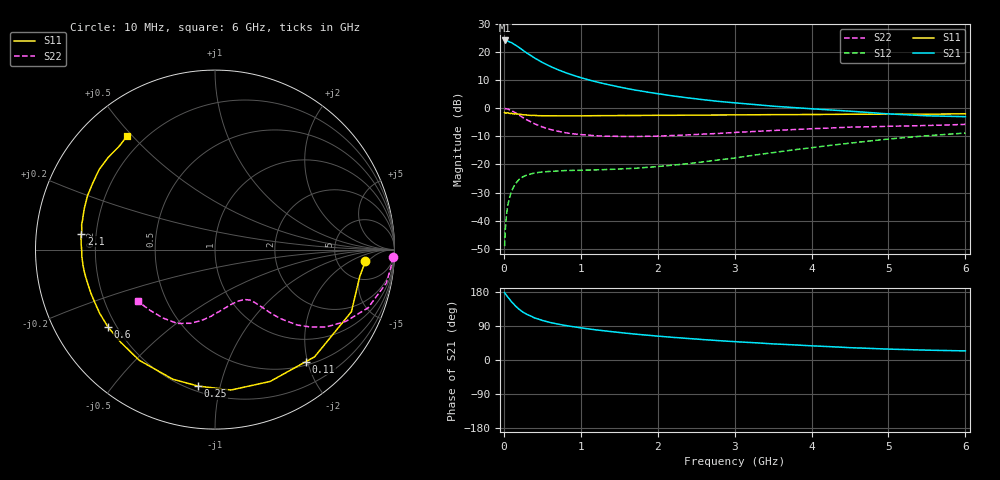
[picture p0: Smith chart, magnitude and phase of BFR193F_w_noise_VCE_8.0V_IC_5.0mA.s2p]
! Infineon Technologies  Discrete & RF Semiconductors
! BFR193F
! VCE =  8.0 V,  IC =  5.0 mA
! Common Emitter S-Parameters:  Jan 2017
# GHz  S  MA  R  50
!  f  S11  S21  S12  S22
! GHz  MAG  ANG  MAG  ANG  MAG  ANG  MAG  ANG
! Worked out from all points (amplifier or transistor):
!   77 points, 10 MHz to 6 GHz, reference 50 ohm
!   highest |S21| = 24.2 dB at 10 MHz (marker M1)
!   |S21| within 3 dB of that: start of sweep to 223.2 MHz
!   unconditionally stable (mu >= 1): 1.857 GHz to 2.975 GHz
!   at 130 MHz: K = 0.10, MSG = 25.4 dB, |S12| = -27.9 dB
!   at 2.2 GHz: K = 1.07, MAG = 10.8 dB, |S12| = -20.3 dB
!   at 6 GHz: K = 0.76, MSG = 2.9 dB, |S12| = -8.8 dB
!   lowest NFmin = 0.81 dB at 450 MHz
!   S11 on the Smith chart (normalised r, x): 10 MHz: 10, -4; 110 MHz: 0.56, -1.97; 250 MHz: 0.23, -0.86; 600 MHz: 0.17, -0.31; 2.1 GHz: 0.14, +0.06; 6 GHz: 0.14, +0.48
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0.01  0.8403 -4.5  16.16 177.7  0.0035 85.4  0.9922 -2.3
0.02  0.8201 -10.6  15.98 174.4  0.0071 85.1  0.9886 -4.5
0.05  0.8351 -24.5  15.8 166.5  0.0183 78.5  0.9729 -11.0
0.1  0.8153 -47.1  14.8 153.6  0.0332 67.6  0.9121 -20.9
0.11  0.8036 -51.0  14.49 151.6  0.0355 65.1  0.8948 -22.3
0.15  0.7962 -67.3  13.41 142.7  0.0454 57.9  0.8319 -28.7
0.2  0.7874 -83.5  12.08 133.6  0.0544 50.8  0.7548 -34.8
0.25  0.7661 -97.1  10.74 126.2  0.0604 45.6  0.6816 -39.2
0.3  0.7595 -108.0  9.645 120.3  0.0648 41.9  0.6219 -42.5
0.4  0.7473 -124.4  7.86 111.0  0.0705 36.3  0.5284 -46.6
0.5  0.7367 -135.6  6.564 104.5  0.0734 33.3  0.4652 -48.9
0.6  0.7356 -144.2  5.615 99.1  0.0752 31.1  0.4212 -50.5
0.8  0.7315 -156.1  4.325 91.1  0.0779 31.0  0.367 -53.2
1.1  0.7362 -167.5  3.217 82.1  0.0794 34.1  0.3323 -57.4
1.3  0.7405 -173.0  2.749 77.1  0.0809 37.1  0.3199 -60.6
1.6  0.7425 -179.1  2.252 70.5  0.0844 42.6  0.3146 -66.7
2.1  0.7502 173.2  1.74 61.4  0.0944 53.7  0.3237 -77.1
2.6  0.7563 167.1  1.419 53.7  0.1114 62.8  0.3474 -86.6
3.1  0.7642 161.5  1.219 47.3  0.1364 69.5  0.377 -94.8
4.1  0.7766 150.1  0.961 36.5  0.2068 74.5  0.4378 -110.3
5.1  0.7852 138.0  0.783 28.2  0.2912 71.1  0.4809 -129.1
6  0.7994 127.8  0.709 24.0  0.3623 64.8  0.5179 -146.1
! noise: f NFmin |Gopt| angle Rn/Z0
0.45  0.81  0.31  100  0.1
0.9  1.01  0.45  136  0.09
1.9  1.9  0.63  -179  0.06
2.4  2.34  0.67  -168  0.11
